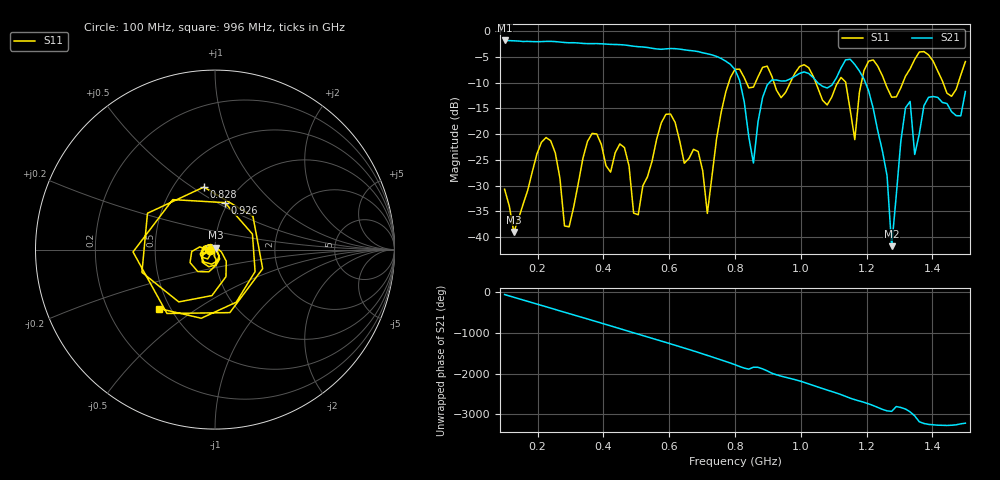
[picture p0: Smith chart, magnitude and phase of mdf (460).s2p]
! NanoVNA-App
! Date: 2025-09-25 15:42:00
! Start: 100MHz Stop: 1,5GHz Points: 101
! S-Parameter data: F S11 S21 S12 S22
# Hz S RI R 50
!  Frequency  S11_Real  S11_Imag  S21_Real  S21_Imag  S12_Real  S12_Imag  S22_Real  S22_Imag
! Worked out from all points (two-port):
!   101 points, 100 MHz to 1.5 GHz, reference 50 ohm
!   highest |S21| = -1.80 dB at 100 MHz (marker M1); lowest = -41.8 dB at 1.276 GHz (marker M2)
!   |S21| within 3 dB of the highest: start of sweep to 739.4 MHz
!   lowest |S11| = -39.0 dB at 128 MHz (marker M3), VSWR 1.02, Z = 50.3 + j1.07 ohm
!   |S11| at or under -10 dB: start of sweep to 781 MHz; 918.4 MHz to 968 MHz (49.6 MHz wide, 5.26 % of centre); 1.045 GHz to 1.112 GHz (67.05 MHz wide, 6.21 % of centre) (the widest 3 of 7)
!   S12 and S22 are empty: the file has one direction only
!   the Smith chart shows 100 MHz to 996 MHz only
!   S11 on the Smith chart (normalised r, x): 100 MHz: 0.94, -0.01; 828 MHz: 0.70, +0.56; 926 MHz: 0.97, +0.54; 996 MHz: 0.44, -0.36
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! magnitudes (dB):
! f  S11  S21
! 100 MHz  -30.7  -1.8
! 128 MHz  -39.0  -1.9
! 212 MHz  -21.6  -2.0
! 282 MHz  -37.9  -2.2
! 338 MHz  -24.7  -2.4
! 464 MHz  -22.6  -2.7
! 506 MHz  -35.7  -3.0
! 576 MHz  -17.8  -3.5
! 688 MHz  -23.4  -4.0
! 716 MHz  -35.4  -4.4
! 800 MHz  -7.4  -7.5
! 828 MHz  -9.0  -13.7
! 856 MHz  -10.9  -25.6
! 926 MHz  -11.5  -9.5
! 996 MHz  -6.9  -8.2
! 1.038 GHz  -8.8  -9.0
! 1.164 GHz  -21.1  -6.5
! 1.192 GHz  -7.6  -9.3
! 1.276 GHz  -12.8  -41.8
! 1.318 GHz  -8.8  -14.9
! 1.346 GHz  -5.5  -24.0
! 1.5 GHz  -5.9  -11.7
